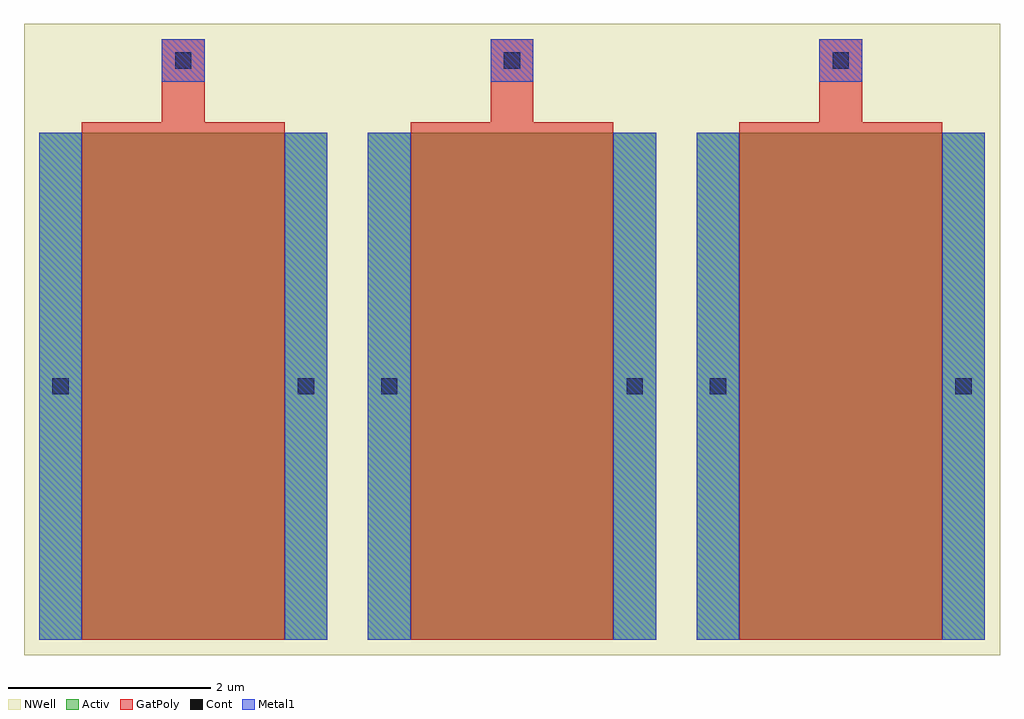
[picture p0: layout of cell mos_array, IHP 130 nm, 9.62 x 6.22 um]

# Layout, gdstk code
import gdstk
lib = gdstk.Library(unit=1e-6, precision=1e-09)
def R(c, l, rs):  # rectangles x0, y0, x1, y1
    for r in rs: c.add(gdstk.rectangle(r[:2], r[2:], *l))
def A(c, l, x, y, w, h, nx, ny, dx, dy):  # array of equal rectangles
    R(c, l, [(x+i*dx, y+j*dy, x+i*dx+w, y+j*dy+h) for i in range(nx) for j in range(ny)])
Activ = (1, 0)
GatPoly = (5, 0)
Cont = (6, 0)
Metal1 = (8, 0)
NWell = (31, 0)

mos_array = lib.new_cell('mos_array')
A(mos_array, Activ, 0, 0, 2.84, 5, 3, 1, 3.24, 0)
A(mos_array, GatPoly, 0.42, 0, 2, 5, 3, 1, 3.24, 0)
A(mos_array, GatPoly, 0.42, 5, 2, 0.1, 3, 1, 3.24, 0)
A(mos_array, GatPoly, 1.21, 5.1, 0.42, 0.82, 3, 1, 3.24, 0)
A(mos_array, Cont, 1.34, 5.63, 0.16, 0.16, 3, 1, 3.24, 0)
R(mos_array, Cont, [(0.13,2.42,0.29,2.58), (2.55,2.42,2.71,2.58), (3.37,2.42,3.53,2.58), (5.79,2.42,5.95,2.58), (6.61,2.42,6.77,2.58), (9.03,2.42,9.19,2.58)])
A(mos_array, Metal1, 1.21, 5.5, 0.42, 0.42, 3, 1, 3.24, 0)
R(mos_array, Metal1, [(0,0,0.42,5), (2.42,0,2.84,5), (3.24,0,3.66,5), (5.66,0,6.08,5), (6.48,0,6.9,5), (8.9,0,9.32,5)])
R(mos_array, NWell, [(-0.15,-0.15,9.47,6.07)])

lib.write_gds('mos_array.gds')
